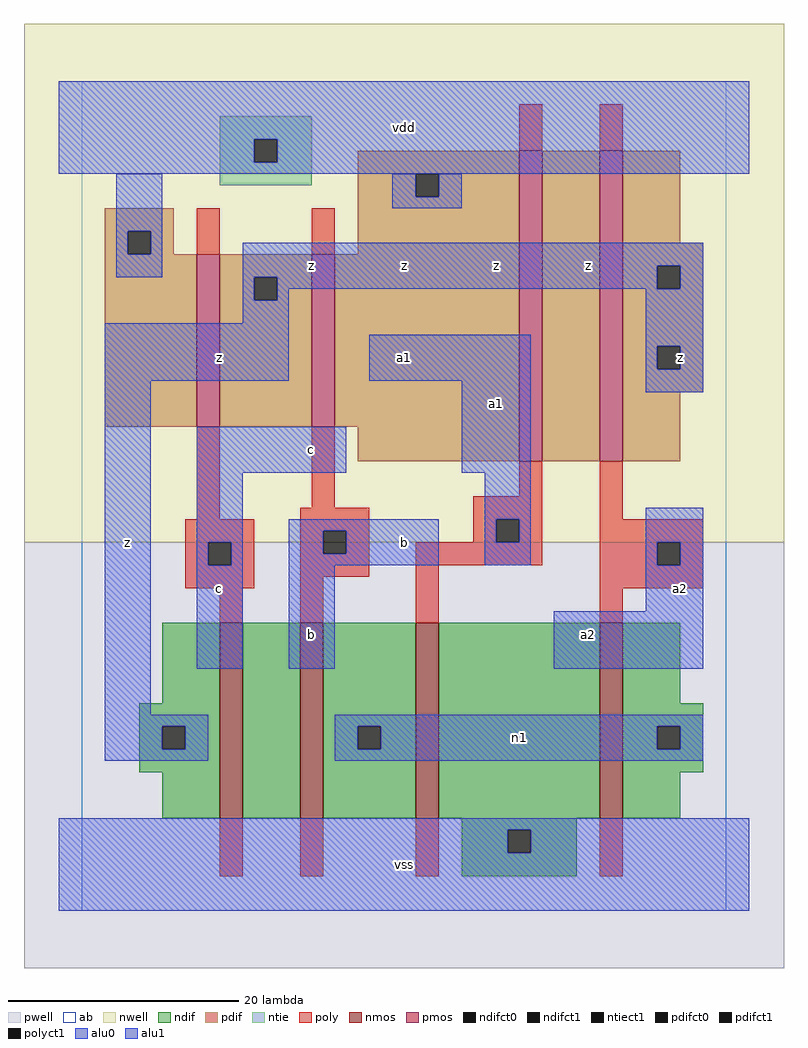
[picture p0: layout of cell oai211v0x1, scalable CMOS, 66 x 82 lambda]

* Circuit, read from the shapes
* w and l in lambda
.subckt oai211v0x1 a1 a2 b c n1 vdd vss z
M1 n2 c z VSUBS nfet w=17 l=2
M2 n1 b n2 VSUBS nfet w=17 l=2
M3 vss a1 n1 VSUBS nfet w=17 l=2
M4 n1 a2 vss VSUBS nfet w=17 l=2
M5 z c vdd vdd pfet w=15 l=2
M6 vdd b z vdd pfet w=15 l=2
M7 n3 a1 vdd vdd pfet w=27 l=2
M8 z a2 n3 vdd pfet w=27 l=2
.ends

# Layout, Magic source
magic
tech scmos
<< ab >>
rect 0 0 56 72
<< nwell >>
rect -5 32 61 77
<< pwell >>
rect -5 -5 61 32
<< poly >>
rect 38 66 40 70
rect 45 66 47 70
rect 10 57 12 61
rect 20 57 22 61
rect 10 34 12 42
rect 20 35 22 42
rect 38 36 40 39
rect 9 32 15 34
rect 9 30 11 32
rect 13 30 15 32
rect 9 28 15 30
rect 19 33 25 35
rect 19 31 21 33
rect 23 31 25 33
rect 34 34 40 36
rect 34 32 36 34
rect 38 32 40 34
rect 19 29 25 31
rect 29 30 40 32
rect 45 34 47 39
rect 45 32 54 34
rect 45 30 50 32
rect 52 30 54 32
rect 12 25 14 28
rect 19 25 21 29
rect 29 25 31 30
rect 45 28 54 30
rect 45 25 47 28
rect 12 3 14 8
rect 19 3 21 8
rect 29 3 31 8
rect 45 3 47 8
<< ndif >>
rect 7 18 12 25
rect 5 16 12 18
rect 5 14 7 16
rect 9 14 12 16
rect 5 12 12 14
rect 7 8 12 12
rect 14 8 19 25
rect 21 16 29 25
rect 21 14 24 16
rect 26 14 29 16
rect 21 8 29 14
rect 31 8 45 25
rect 47 18 52 25
rect 47 16 54 18
rect 47 14 50 16
rect 52 14 54 16
rect 47 12 54 14
rect 47 8 52 12
rect 33 7 43 8
rect 33 5 37 7
rect 39 5 43 7
rect 33 3 43 5
<< pdif >>
rect 24 64 38 66
rect 24 62 29 64
rect 31 62 38 64
rect 2 59 8 61
rect 2 57 4 59
rect 6 57 8 59
rect 24 57 38 62
rect 2 42 10 57
rect 12 55 20 57
rect 12 53 15 55
rect 17 53 20 55
rect 12 42 20 53
rect 22 42 38 57
rect 24 39 38 42
rect 40 39 45 66
rect 47 58 52 66
rect 47 56 54 58
rect 47 54 50 56
rect 52 54 54 56
rect 47 49 54 54
rect 47 47 50 49
rect 52 47 54 49
rect 47 45 54 47
rect 47 39 52 45
<< alu1 >>
rect -2 67 58 72
rect -2 65 15 67
rect 17 65 58 67
rect -2 64 58 65
rect 14 56 54 58
rect 14 55 50 56
rect 14 53 15 55
rect 17 54 50 55
rect 52 54 54 56
rect 17 53 18 54
rect 14 51 18 53
rect 2 46 18 51
rect 25 46 39 50
rect 2 17 6 46
rect 10 38 23 42
rect 33 38 39 46
rect 49 49 54 54
rect 49 47 50 49
rect 52 47 54 49
rect 49 45 54 47
rect 10 32 14 38
rect 35 34 39 38
rect 10 30 11 32
rect 13 30 14 32
rect 10 21 14 30
rect 18 33 31 34
rect 18 31 21 33
rect 23 31 31 33
rect 18 30 31 31
rect 35 32 36 34
rect 38 32 39 34
rect 35 30 39 32
rect 49 32 54 35
rect 49 30 50 32
rect 52 30 54 32
rect 18 21 22 30
rect 49 26 54 30
rect 41 21 54 26
rect 2 16 11 17
rect 2 14 7 16
rect 9 14 11 16
rect 2 13 11 14
rect -2 7 58 8
rect -2 5 37 7
rect 39 5 58 7
rect -2 0 58 5
<< ntie >>
rect 12 67 20 69
rect 12 65 15 67
rect 17 65 20 67
rect 12 63 20 65
<< nmos >>
rect 12 8 14 25
rect 19 8 21 25
rect 29 8 31 25
rect 45 8 47 25
<< pmos >>
rect 10 42 12 57
rect 20 42 22 57
rect 38 39 40 66
rect 45 39 47 66
<< polyct1 >>
rect 11 30 13 32
rect 21 31 23 33
rect 36 32 38 34
rect 50 30 52 32
<< ndifct0 >>
rect 24 14 26 16
rect 50 14 52 16
<< ndifct1 >>
rect 7 14 9 16
rect 37 5 39 7
<< ntiect1 >>
rect 15 65 17 67
<< pdifct0 >>
rect 29 62 31 64
rect 4 57 6 59
<< pdifct1 >>
rect 15 53 17 55
rect 50 54 52 56
rect 50 47 52 49
<< alu0 >>
rect 3 59 7 64
rect 27 62 29 64
rect 31 62 33 64
rect 27 61 33 62
rect 3 57 4 59
rect 6 57 7 59
rect 3 55 7 57
rect 22 16 54 17
rect 22 14 24 16
rect 26 14 50 16
rect 52 14 54 16
rect 22 13 54 14
<< labels >>
rlabel alu0 38 15 38 15 6 n1
rlabel alu1 4 32 4 32 6 z
rlabel alu1 12 28 12 28 6 c
rlabel alu1 20 24 20 24 6 b
rlabel alu1 20 40 20 40 6 c
rlabel alu1 12 48 12 48 6 z
rlabel alu1 20 56 20 56 6 z
rlabel alu1 28 4 28 4 6 vss
rlabel alu1 28 32 28 32 6 b
rlabel alu1 28 48 28 48 6 a1
rlabel alu1 36 44 36 44 6 a1
rlabel alu1 36 56 36 56 6 z
rlabel alu1 28 56 28 56 6 z
rlabel alu1 28 68 28 68 6 vdd
rlabel alu1 44 24 44 24 6 a2
rlabel alu1 52 28 52 28 6 a2
rlabel alu1 52 48 52 48 6 z
rlabel alu1 44 56 44 56 6 z
<< end >>
